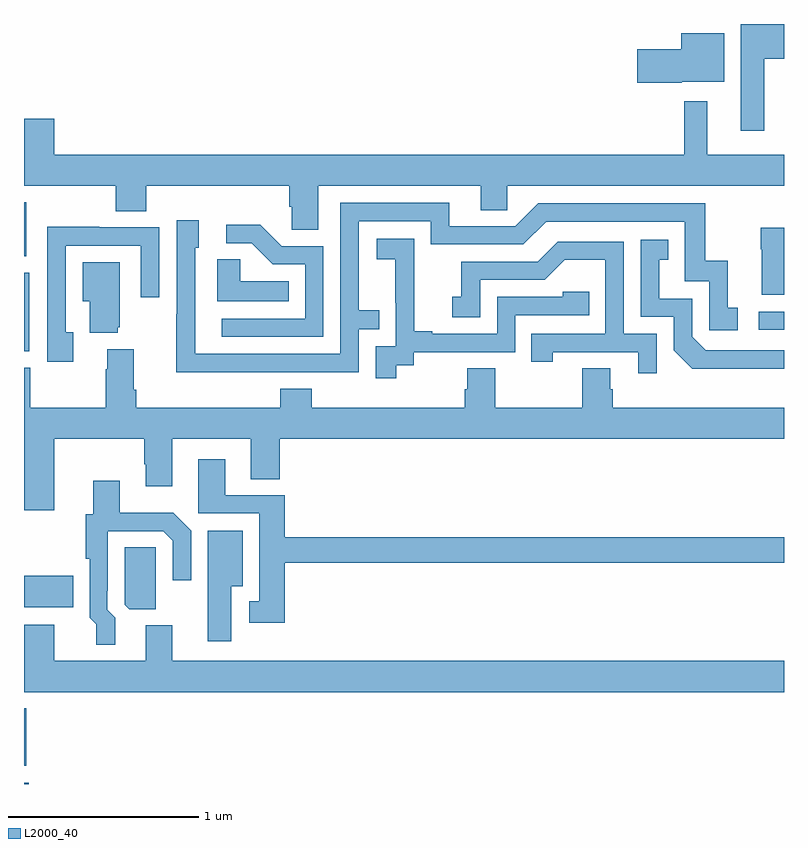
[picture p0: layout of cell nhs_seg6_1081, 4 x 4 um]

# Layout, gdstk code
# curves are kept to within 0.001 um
import gdstk
lib = gdstk.Library(unit=1e-6, precision=1e-09)
def R(c, l, rs):  # rectangles x0, y0, x1, y1
    for r in rs: c.add(gdstk.rectangle(r[:2], r[2:], *l))
def P(c, l, *ps):  # polygons
    for p in ps: c.add(gdstk.Polygon(p, *l))
L2000_40 = (2000, 40)

nhs_seg6_1081 = lib.new_cell('nhs_seg6_1081')
R(nhs_seg6_1081, L2000_40, [(177,965.5,177.024,965.506), (177,965.595,177.011,965.899), (177,966.431,177.259,966.597), (177,967.777,177.028,968.192), (180.867,967.89,181,967.986), (177,968.277,177.013,968.563)])
P(nhs_seg6_1081, L2000_40, [(180.895,969.317),(181,969.317),(181,969.5),(180.773,969.5),(180.773,968.937),(180.895,968.937)],
  [(180.462,969.197),(180.685,969.197),(180.685,969.451),(180.458,969.451),(180.458,969.368),(180.228,969.368),(180.228,969.19),(180.462,969.19)],
  [(180.474,969.094),(180.474,968.812),(177.16,968.812),(177.16,969.001),(177,969.001),(177,968.648),(177.484,968.648),(177.484,968.515),(177.644,968.515),(177.644,968.648),(178.397,968.648),(178.397,968.539),(178.41,968.539),(178.41,968.416),(178.549,968.416),(178.549,968.648),(179.405,968.648),(179.405,968.521),(179.544,968.521),(179.544,968.648),(181,968.648),(181,968.812),(180.595,968.812),(180.595,969.094)],
  [(178.265,967.668),(178.761,967.668),(178.761,967.893),(178.871,967.893),(178.871,967.994),(178.761,967.994),(178.761,968.463),(179.142,968.463),(179.142,968.34),(179.628,968.34),(179.748,968.46),(180.477,968.46),(180.477,968.145),(180.606,968.145),(180.606,967.887),(180.757,967.887),(180.757,968.007),(180.704,968.007),(180.704,968.254),(180.586,968.254),(180.586,968.556),(179.706,968.556),(179.586,968.436),(179.239,968.436),(179.239,968.559),(178.665,968.559),(178.665,967.764),(177.9,967.764),(177.9,968.322),(177.919,968.322),(177.919,968.467),(177.804,968.467),(177.804,967.973),(177.802,967.973),(177.802,967.667)],
  [(178.575,968.331),(178.356,968.331),(178.243,968.444),(178.065,968.444),(178.065,968.346),(178.199,968.346),(178.31,968.235),(178.479,968.235),(178.479,967.95),(178.041,967.95),(178.041,967.854),(178.575,967.854)],
  [(177.259,967.878),(177.219,967.878),(177.219,968.334),(177.615,968.334),(177.615,968.061),(177.711,968.061),(177.711,968.43),(177.395,968.43),(177.395,968.432),(177.123,968.432),(177.123,967.722),(177.259,967.722)],
  [(181,968.428),(180.877,968.428),(180.877,968.315),(180.884,968.315),(180.884,968.075),(181,968.075)],
  [(178.96,967.705),(179.052,967.705),(179.052,967.773),(179.586,967.773),(179.586,967.968),(179.975,967.968),(179.975,968.091),(179.835,968.091),(179.835,968.064),(179.49,968.064),(179.49,967.869),(179.149,967.869),(179.149,967.882),(179.054,967.882),(179.054,968.165),(179.055,968.165),(179.055,968.371),(178.857,968.371),(178.857,968.261),(178.955,968.261),(178.955,968.033),(178.956,968.033),(178.956,967.803),(178.851,967.803),(178.851,967.635),(178.96,967.635)],
  [(180.926,967.686),(181,967.686),(181,967.782),(180.588,967.782),(180.516,967.854),(180.516,968.055),(180.343,968.055),(180.343,968.259),(180.392,968.259),(180.392,968.365),(180.246,968.365),(180.246,967.959),(180.42,967.959),(180.42,967.782),(180.518,967.685)],
  [(180.33,967.869),(180.156,967.869),(180.156,968.355),(179.81,968.355),(179.705,968.25),(179.302,968.25),(179.302,968.065),(179.253,968.065),(179.253,967.956),(179.4,967.956),(179.4,968.154),(179.742,968.154),(179.846,968.258),(180.06,968.258),(180.06,967.869),(179.671,967.869),(179.671,967.722),(179.782,967.722),(179.782,967.773),(180.233,967.773),(180.233,967.662),(180.33,967.662)],
  [(178.394,968.146),(178.137,968.146),(178.137,968.261),(178.016,968.261),(178.016,968.042),(178.394,968.042)],
  [(177.494,967.905),(177.505,967.905),(177.505,968.245),(177.308,968.245),(177.308,968.042),(177.347,968.042),(177.347,967.874),(177.494,967.874)],
  [(177.16,967.316),(177.634,967.316),(177.634,967.183),(177.641,967.183),(177.641,967.068),(177.781,967.068),(177.781,967.316),(178.193,967.316),(178.193,967.105),(178.346,967.105),(178.346,967.316),(181,967.316),(181,967.48),(180.098,967.48),(180.098,967.578),(180.085,967.578),(180.085,967.688),(179.938,967.688),(179.938,967.48),(179.481,967.48),(179.481,967.688),(179.333,967.688),(179.333,967.578),(179.321,967.578),(179.321,967.48),(178.514,967.48),(178.514,967.579),(178.349,967.579),(178.349,967.48),(177.59,967.48),(177.59,967.576),(177.577,967.576),(177.577,967.789),(177.437,967.789),(177.437,967.682),(177.43,967.682),(177.43,967.48),(177.033,967.48),(177.033,967.692),(177,967.692),(177,966.942),(177.16,966.942)],
  [(178.373,966.664),(181,966.664),(181,966.8),(178.373,966.8),(178.373,967.02),(178.06,967.02),(178.06,967.21),(177.917,967.21),(177.917,966.924),(178.238,966.924),(178.238,966.461),(178.185,966.461),(178.185,966.348),(178.373,966.348)],
  [(177.481,966.374),(177.438,966.417),(177.438,966.517),(177.441,966.517),(177.441,966.831),(177.732,966.831),(177.783,966.78),(177.783,966.573),(177.879,966.573),(177.879,966.834),(177.785,966.928),(177.505,966.928),(177.505,967.096),(177.365,967.096),(177.365,966.921),(177.325,966.921),(177.325,966.685),(177.345,966.685),(177.345,966.374),(177.379,966.341),(177.379,966.234),(177.481,966.234)],
  [(178.09,966.542),(178.15,966.542),(178.15,966.832),(177.968,966.832),(177.968,966.252),(178.09,966.252)],
  [(177.694,966.635),(177.693,966.635),(177.693,966.746),(177.531,966.746),(177.531,966.444),(177.555,966.421),(177.694,966.421)],
  [(181,966.148),(177.781,966.148),(177.781,966.336),(177.641,966.336),(177.641,966.148),(177.16,966.148),(177.16,966.337),(177,966.337),(177,965.984),(181,965.984)])

lib.write_gds('nhs_seg6_1081.gds')
